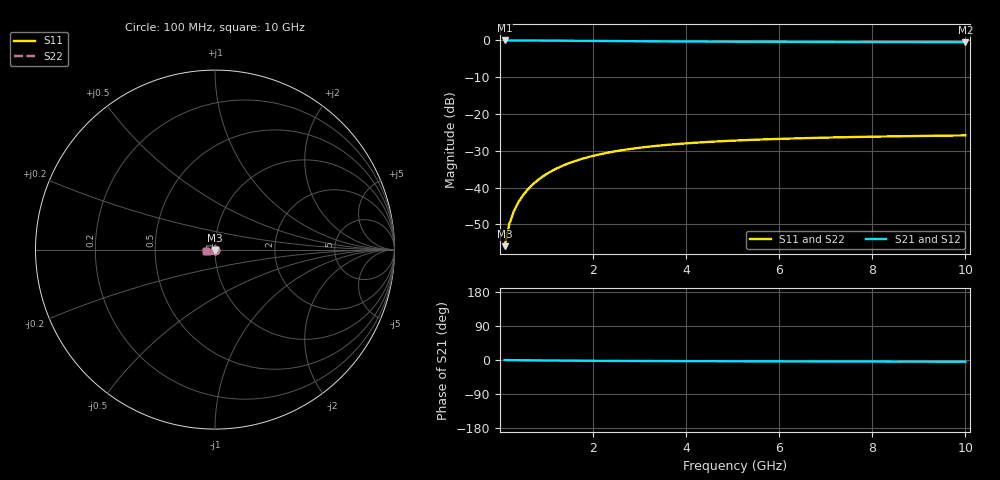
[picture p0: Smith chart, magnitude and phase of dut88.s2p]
! Touchstone file exported from HFSS 2024.1.0
!  File:  C:/UserFiles/LocalFiles/RDL_TSV_Batchsim/temp_TSV1_88_1778751514.aedt
!  Generated:  05:45:33 PM May 14, 2026
!  Design:  TSV1
!  Project:  temp_TSV1_88_1778751514
!  Setup:  Setup1
!  Solution:  Sweep
! Variables:
!  dtsv = 12.53um
!  hbump = 3um
!  htsv = 70.78um
!  lrdl = 252.1521522um
!  p = 40
!  p1 = 49.82um
!  t = 500um
!  trdl = 3um
!  wrdl = 24.89489489um
# GHz S MA R 50.000000
! Terminal data exported
! Port[1] = TSV22_T1
! Port[2] = TSV22_T2
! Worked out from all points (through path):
!   100 points, 100 MHz to 10 GHz, reference 50 ohm
!   highest |S21| = 0.00 dB at 100 MHz (marker M1); lowest = -0.5 dB at 10 GHz (marker M2)
!   lowest |S11| = -55.9 dB at 100 MHz (marker M3), VSWR 1.00, Z = 50 - j0.16 ohm
!   |S11| at or under -10 dB: start of sweep to end of sweep
!   |S22| runs from -55.9 to -25.8 dB; largest |S21 - S12| = 6.3e-15
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0.1  0.001598 -88.8  0.9999 -0.1  0.9999 -0.1  0.001598 -88.8
! Gamma 0 0 0 0
! Port Impedance 50 0 50 0
0.2  0.003192 -92.1  0.9997 -0.3  0.9997 -0.3  0.003192 -92.1
0.3  0.004782 -94.5  0.9994 -0.4  0.9994 -0.4  0.004782 -94.5
0.4  0.00636 -96.6  0.999 -0.5  0.999 -0.5  0.00636 -96.6
0.5  0.00792 -98.7  0.9985 -0.7  0.9985 -0.7  0.00792 -98.7
0.6  0.009456 -100.6  0.998 -0.8  0.998 -0.8  0.009456 -100.6
0.7  0.01096 -102.5  0.9973 -0.9  0.9973 -0.9  0.01096 -102.5
0.8  0.01244 -104.4  0.9966 -1.0  0.9966 -1.0  0.01244 -104.4
0.9  0.01388 -106.2  0.9958 -1.1  0.9958 -1.1  0.01388 -106.2
1.1  0.01665 -109.8  0.9941 -1.4  0.9941 -1.4  0.01665 -109.8
1.4  0.02049 -114.8  0.9912 -1.6  0.9912 -1.6  0.02049 -114.8
1.6  0.02282 -117.9  0.9892 -1.8  0.9892 -1.8  0.02282 -117.9
1.8  0.02499 -120.8  0.9871 -2.0  0.9871 -2.0  0.02499 -120.8
2.1  0.02793 -124.9  0.984 -2.2  0.984 -2.2  0.02793 -124.9
2.5  0.0313 -129.8  0.9799 -2.4  0.9799 -2.4  0.0313 -129.8
2.9  0.03415 -134.1  0.9762 -2.6  0.9762 -2.6  0.03415 -134.1
3.4  0.03709 -138.9  0.9721 -2.8  0.9721 -2.8  0.03709 -138.9
4.2  0.04072 -145.2  0.9666 -3.1  0.9666 -3.1  0.04072 -145.2
5.1  0.0437 -151.0  0.9617 -3.3  0.9617 -3.3  0.0437 -151.0
6.7  0.04726 -158.9  0.9557 -3.8  0.9557 -3.8  0.04726 -158.9
8.4  0.04965 -165.3  0.9515 -4.2  0.9515 -4.2  0.04965 -165.3
10  0.05119 -170.2  0.9488 -4.6  0.9488 -4.6  0.05119 -170.2
